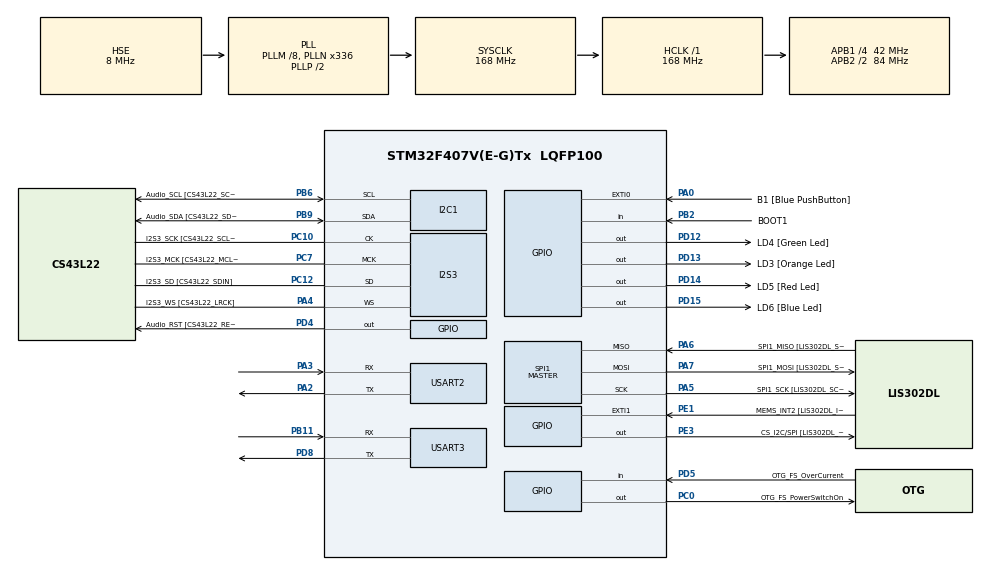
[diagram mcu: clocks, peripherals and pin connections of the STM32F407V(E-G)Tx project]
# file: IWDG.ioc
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FREERTOS.Tasks01=idleTask,8,128,StartIdleTask,Default,NULL,Dynamic,NULL,NULL;myTask02,16,128,StartTask02,Default,NULL,Dynamic,NULL,NULL;myTask03,24,128,StartTask03,Default,NULL,Dynamic,NULL,NULL;myIWDG04,48,128,StartIWDGTask04,Default,NULL,Dynamic,NULL,NULL
I2S3.AudioFreq-Half_Duplex_Master=I2S_AUDIOFREQ_96K
I2S3.ErrorAudioFreq=-2.34 %
I2S3.ErrorAudioFreq-Half_Duplex_Master=0.8 %
I2S3.FullDuplexMode=I2S_FULLDUPLEXMODE_DISABLE
I2S3.Instance=SPI$Index
I2S3.RealAudioFreq=93.75 KHz
I2S3.RealAudioFreq-Half_Duplex_Master=96.774 KHz
I2S3.VirtualMode=I2S_MODE_MASTER
IWDG.Prescaler=IWDG_PRESCALER_32
Mcu.Family=STM32F4
Mcu.Name=STM32F407V(E-G)Tx
Mcu.Package=LQFP100
NVIC.PriorityGroup=NVIC_PRIORITYGROUP_4
PA0-WKUP.GPIO_Label=B1 [Blue PushButton]
PA0-WKUP.GPIO_ModeDefaultEXTI=GPIO_MODE_EVT_RISING
PA0-WKUP.GPIO_PuPd=GPIO_NOPULL
PA0-WKUP.Signal=GPXTI0
PA10.GPIO_Label=OTG_FS_ID
PA10.GPIO_Mode=GPIO_MODE_AF_PP
PA10.GPIO_PuPd=GPIO_NOPULL
PA10.GPIO_Speed=GPIO_SPEED_FREQ_LOW
PA10.Signal=USB_OTG_FS_ID
PA11.GPIO_Label=OTG_FS_DM
PA11.GPIO_Mode=GPIO_MODE_AF_PP
PA11.GPIO_PuPd=GPIO_NOPULL
PA11.GPIO_Speed=GPIO_SPEED_FREQ_LOW
PA11.Signal=USB_OTG_FS_DM
PA12.GPIO_Label=OTG_FS_DP
PA12.GPIO_Mode=GPIO_MODE_AF_PP
PA12.GPIO_PuPd=GPIO_NOPULL
PA12.GPIO_Speed=GPIO_SPEED_FREQ_LOW
PA12.Signal=USB_OTG_FS_DP
PA13.GPIO_Label=SWDIO
PA13.Mode=Serial_Wire
PA13.Signal=SYS_JTMS-SWDIO
PA14.GPIO_Label=SWCLK
PA14.Mode=Serial_Wire
PA14.Signal=SYS_JTCK-SWCLK
PA2.Mode=Asynchronous
PA2.Signal=USART2_TX
PA3.Mode=Asynchronous
PA3.Signal=USART2_RX
PA4.GPIO_Label=I2S3_WS [CS43L22_LRCK]
PA4.GPIO_Mode=GPIO_MODE_AF_PP
PA4.GPIO_PuPd=GPIO_NOPULL
PA4.GPIO_Speed=GPIO_SPEED_FREQ_LOW
PA4.Mode=Half_Duplex_Master
PA4.Signal=I2S3_WS
PA5.GPIO_Label=SPI1_SCK [LIS302DL_SCL/SPC]
PA5.GPIO_Mode=GPIO_MODE_AF_PP
PA5.GPIO_PuPd=GPIO_NOPULL
PA5.GPIO_Speed=GPIO_SPEED_FREQ_LOW
PA5.Mode=Full_Duplex_Master
PA5.Signal=SPI1_SCK
PA6.GPIO_Label=SPI1_MISO [LIS302DL_SDO]
PA6.GPIO_Mode=GPIO_MODE_AF_PP
PA6.GPIO_PuPd=GPIO_NOPULL
PA6.GPIO_Speed=GPIO_SPEED_FREQ_LOW
PA6.Mode=Full_Duplex_Master
PA6.Signal=SPI1_MISO
PA7.GPIO_Label=SPI1_MOSI [LIS302DL_SDA/SDI/SDO]
PA7.GPIO_Mode=GPIO_MODE_AF_PP
PA7.GPIO_PuPd=GPIO_NOPULL
PA7.GPIO_Speed=GPIO_SPEED_FREQ_LOW
PA7.Mode=Full_Duplex_Master
PA7.Signal=SPI1_MOSI
PA9.GPIO_Label=VBUS_FS
PA9.GPIO_Mode=GPIO_MODE_INPUT
PA9.GPIO_PuPd=GPIO_NOPULL
PA9.Signal=USB_OTG_FS_VBUS
PB10.GPIO_Label=CLK_IN [MP45DT02_CLK]
PB10.GPIO_Mode=GPIO_MODE_AF_PP
PB10.GPIO_PuPd=GPIO_NOPULL
PB10.GPIO_Speed=GPIO_SPEED_FREQ_LOW
PB10.Signal=I2S2_CK
PB11.Mode=Asynchronous
PB11.Signal=USART3_RX
PB2.GPIO_Label=BOOT1
PB2.GPIO_Mode=GPIO_MODE_INPUT
PB2.GPIO_PuPd=GPIO_NOPULL
PB2.Signal=GPIO_Input
PB3.GPIO_Label=SWO
PB3.Signal=SYS_JTDO-SWO
PB6.GPIO_Label=Audio_SCL [CS43L22_SCL]
PB6.GPIO_Mode=GPIO_MODE_AF_OD
PB6.GPIO_PuPd=GPIO_NOPULL
PB6.GPIO_Speed=GPIO_SPEED_FREQ_LOW
PB6.Mode=I2C
PB6.Signal=I2C1_SCL
PB9.GPIO_Label=Audio_SDA [CS43L22_SDA]
PB9.GPIO_Mode=GPIO_MODE_AF_OD
PB9.GPIO_PuPd=GPIO_NOPULL
PB9.GPIO_Speed=GPIO_SPEED_FREQ_LOW
PB9.Mode=I2C
PB9.Signal=I2C1_SDA
PC0.GPIO_Label=OTG_FS_PowerSwitchOn
PC0.GPIO_PuPd=GPIO_NOPULL
PC0.GPIO_Speed=GPIO_SPEED_FREQ_LOW
PC0.PinState=GPIO_PIN_SET
PC0.Signal=GPIO_Output
PC10.GPIO_Label=I2S3_SCK [CS43L22_SCLK]
PC10.GPIO_Mode=GPIO_MODE_AF_PP
PC10.GPIO_PuPd=GPIO_NOPULL
PC10.GPIO_Speed=GPIO_SPEED_FREQ_LOW
PC10.Mode=Half_Duplex_Master
PC10.Signal=I2S3_CK
PC12.GPIO_Label=I2S3_SD [CS43L22_SDIN]
PC12.GPIO_Mode=GPIO_MODE_AF_PP
PC12.GPIO_PuPd=GPIO_NOPULL
PC12.GPIO_Speed=GPIO_SPEED_FREQ_LOW
PC12.Mode=Half_Duplex_Master
PC12.Signal=I2S3_SD
PC14-OSC32_IN.GPIO_Label=PC14-OSC32_IN
PC14-OSC32_IN.Mode=LSE-External-Oscillator
PC14-OSC32_IN.Signal=RCC_OSC32_IN
PC15-OSC32_OUT.GPIO_Label=PC15-OSC32_OUT
PC15-OSC32_OUT.Mode=LSE-External-Oscillator
PC15-OSC32_OUT.Signal=RCC_OSC32_OUT
PC3.GPIO_Label=PDM_OUT [MP45DT02_DOUT]
PC3.GPIO_Mode=GPIO_MODE_AF_PP
PC3.GPIO_PuPd=GPIO_NOPULL
PC3.GPIO_Speed=GPIO_SPEED_FREQ_LOW
PC3.Signal=I2S2_SD
PC7.GPIO_Label=I2S3_MCK [CS43L22_MCLK]
PC7.GPIO_Mode=GPIO_MODE_AF_PP
PC7.GPIO_PuPd=GPIO_NOPULL
PC7.GPIO_Speed=GPIO_SPEED_FREQ_LOW
PC7.Mode=Master_Clock_Activated
PC7.Signal=I2S3_MCK
PD12.GPIO_Label=LD4 [Green Led]
PD12.GPIO_PuPd=GPIO_NOPULL
PD12.GPIO_Speed=GPIO_SPEED_FREQ_LOW
PD12.Signal=GPIO_Output
PD13.GPIO_Label=LD3 [Orange Led]
PD13.GPIO_PuPd=GPIO_NOPULL
PD13.GPIO_Speed=GPIO_SPEED_FREQ_LOW
PD13.Signal=GPIO_Output
PD14.GPIO_Label=LD5 [Red Led]
PD14.GPIO_PuPd=GPIO_NOPULL
PD14.GPIO_Speed=GPIO_SPEED_FREQ_LOW
PD14.Signal=GPIO_Output
PD15.GPIO_Label=LD6 [Blue Led]
PD15.GPIO_PuPd=GPIO_NOPULL
PD15.GPIO_Speed=GPIO_SPEED_FREQ_LOW
PD15.Signal=GPIO_Output
PD4.GPIO_Label=Audio_RST [CS43L22_RESET]
PD4.GPIO_PuPd=GPIO_NOPULL
PD4.GPIO_Speed=GPIO_SPEED_FREQ_LOW
PD4.Signal=GPIO_Output
PD5.GPIO_Label=OTG_FS_OverCurrent
PD5.GPIO_Mode=GPIO_MODE_INPUT
PD5.GPIO_PuPd=GPIO_NOPULL
PD5.Signal=GPIO_Input
PD8.Mode=Asynchronous
PD8.Signal=USART3_TX
PE1.GPIO_Label=MEMS_INT2 [LIS302DL_INT2]
PE1.GPIO_ModeDefaultEXTI=GPIO_MODE_EVT_RISING
PE1.GPIO_PuPd=GPIO_NOPULL
PE1.Signal=GPXTI1
PE3.GPIO_Label=CS_I2C/SPI [LIS302DL_CS_I2C/SPI]
PE3.GPIO_PuPd=GPIO_NOPULL
PE3.GPIO_Speed=GPIO_SPEED_FREQ_LOW
PE3.Signal=GPIO_Output
PH0-OSC_IN.GPIO_Label=PH0-OSC_IN
PH0-OSC_IN.Mode=HSE-External-Oscillator
PH0-OSC_IN.Signal=RCC_OSC_IN
PH1-OSC_OUT.GPIO_Label=PH1-OSC_OUT
PH1-OSC_OUT.Mode=HSE-External-Oscillator
PH1-OSC_OUT.Signal=RCC_OSC_OUT
ProjectManager.HeapSize=0x200
ProjectManager.StackSize=0x400
ProjectManager.TargetToolchain=STM32CubeIDE
RCC.48MHZClocksFreq_Value=48000000
RCC.AHBFreq_Value=168000000
RCC.APB1CLKDivider=RCC_HCLK_DIV4
RCC.APB1Freq_Value=42000000
RCC.APB1TimFreq_Value=84000000
RCC.APB2CLKDivider=RCC_HCLK_DIV2
RCC.APB2Freq_Value=84000000
RCC.APB2TimFreq_Value=168000000
RCC.CortexFreq_Value=168000000
RCC.HCLKFreq_Value=168000000
RCC.HSE_VALUE=8000000
RCC.HSI_VALUE=16000000
RCC.PLLM=8
RCC.PLLN=336
RCC.PLLQ=7
RCC.PLLSourceVirtual=RCC_PLLSOURCE_HSE
RCC.SYSCLKFreq_VALUE=168000000
RCC.SYSCLKSource=RCC_SYSCLKSOURCE_PLLCLK
RCC.VCOOutputFreq_Value=336000000
SPI1.BaudRatePrescaler-Full_Duplex_Master=SPI_BAUDRATEPRESCALER_2
SPI1.CalculateBaudRate-Full_Duplex_Master=42.0 MBits/s
SPI1.Direction=SPI_DIRECTION_2LINES
SPI1.Mode=SPI_MODE_MASTER
SPI1.Mode-Full_Duplex_Master=SPI_MODE_MASTER
SPI1.VirtualType=VM_MASTER
USART2.VirtualMode=VM_ASYNC
USART3.VirtualMode=VM_ASYNC
VP_FREERTOS_VS_CMSIS_V2.Mode=CMSIS_V2
VP_IWDG_VS_IWDG.Mode=IWDG_Activate
VP_RTC_VS_RTC_Activate.Mode=RTC_Enabled
VP_RTC_VS_RTC_Calendar.Mode=RTC_Calendar
VP_TIM1_VS_ClockSourceINT.Mode=Internal
board=STM32F407G-DISC1

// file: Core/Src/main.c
/* USER CODE BEGIN Header */
/**
  ******************************************************************************
  * @file           : main.c
  * @brief          : Main program body
  ******************************************************************************
  * @attention
  *
  * <h2><center>&copy; Copyright (c) 2021 STMicroelectronics.
  * All rights reserved.</center></h2>
  *
  * This software component is licensed by ST under Ultimate Liberty license
  * SLA0044, the "License"; You may not use this file except in compliance with
  * the License. You may obtain a copy of the License at:
  *                             www.st.com/SLA0044
  *
  ******************************************************************************
  */
/* USER CODE END Header */

#include "main.h"
#include "cmsis_os.h"

/* USER CODE BEGIN Includes */
#include "FreeRTOSConfig.h"
#include "event_groups.h"
/* USER CODE END Includes */

/* USER CODE BEGIN PD */
#define IWDG_BIT_myTask02   (1 << 0)  //task02 flag
#define IWDG_BIT_myTask03   (1 << 1)  //task03 flag
#define IWDG_BIT_ALL (IWDG_BIT_myTask02 | IWDG_BIT_myTask03) //feed dog

/* USER CODE END PD */

I2C_HandleTypeDef hi2c1;

I2S_HandleTypeDef hi2s3;

IWDG_HandleTypeDef hiwdg;

RTC_HandleTypeDef hrtc;

SPI_HandleTypeDef hspi1;

TIM_HandleTypeDef htim1;

UART_HandleTypeDef huart2;
UART_HandleTypeDef huart3;

/* Definitions for idleTask */
osThreadId_t idleTaskHandle;
const osThreadAttr_t idleTask_attributes = {
  .name = "idleTask",
  .priority = (osPriority_t) osPriorityLow,
  .stack_size = 128 * 4
};
/* Definitions for myTask02 */
osThreadId_t myTask02Handle;
const osThreadAttr_t myTask02_attributes = {
  .name = "myTask02",
  .priority = (osPriority_t) osPriorityBelowNormal,
  .stack_size = 128 * 4
};
/* Definitions for myTask03 */
osThreadId_t myTask03Handle;
const osThreadAttr_t myTask03_attributes = {
  .name = "myTask03",
  .priority = (osPriority_t) osPriorityNormal,
  .stack_size = 128 * 4
};
/* Definitions for myIWDG04 */
osThreadId_t myIWDG04Handle;
const osThreadAttr_t myIWDG04_attributes = {
  .name = "myIWDG04",
  .priority = (osPriority_t) osPriorityRealtime,
  .stack_size = 128 * 4
};
/* USER CODE BEGIN PV */

EventGroupHandle_t iwdgEventGroup;
EventBits_t uxBits;

uint8_t Init[]= "Initialize all configured peripherals OK \r\n";

/* USER CODE END PV */

void SystemClock_Config(void);
static void MX_GPIO_Init(void);
static void MX_I2C1_Init(void);
static void MX_I2S3_Init(void);
static void MX_SPI1_Init(void);
static void MX_IWDG_Init(void);
static void MX_RTC_Init(void);
static void MX_TIM1_Init(void);
static void MX_USART2_UART_Init(void);
static void MX_USART3_UART_Init(void);
void StartIdleTask(void *argument);
void StartTask02(void *argument);
void StartTask03(void *argument);
void StartIWDGTask04(void *argument);

int main(void)
{
  /* USER CODE BEGIN 1 */

  iwdgEventGroup = xEventGroupCreate();

  /* USER CODE END 1 */

  /* MCU Configuration--------------------------------------------------------*/

  /* Reset of all peripherals, Initializes the Flash interface and the Systick. */
  HAL_Init();

  /* Configure the system clock */
  SystemClock_Config();

  /* Initialize all configured peripherals */
  MX_GPIO_Init();
  MX_I2C1_Init();
  MX_I2S3_Init();
  MX_SPI1_Init();
  MX_IWDG_Init();
  MX_RTC_Init();
  MX_TIM1_Init();
  MX_USART2_UART_Init();
  MX_USART3_UART_Init();
  /* USER CODE BEGIN 2 */

  HAL_UART_Transmit( &huart2, Init, sizeof(Init)-1, 10000);

  /* USER CODE END 2 */

  /* Init scheduler */
  osKernelInitialize();

  /* Create the thread(s) */
  /* creation of idleTask */
  idleTaskHandle = osThreadNew(StartIdleTask, NULL, &idleTask_attributes);

  /* creation of myTask02 */
  myTask02Handle = osThreadNew(StartTask02, NULL, &myTask02_attributes);

  /* creation of myTask03 */
  myTask03Handle = osThreadNew(StartTask03, NULL, &myTask03_attributes);

  /* creation of myIWDG04 */
  myIWDG04Handle = osThreadNew(StartIWDGTask04, NULL, &myIWDG04_attributes);

  /* Start scheduler */
  osKernelStart();

  /* We should never get here as control is now taken by the scheduler */
  /* Infinite loop */
  while (1)
  {

  }
}

void SystemClock_Config(void)
{
  RCC_OscInitTypeDef RCC_OscInitStruct = {0};
  RCC_ClkInitTypeDef RCC_ClkInitStruct = {0};
  RCC_PeriphCLKInitTypeDef PeriphClkInitStruct = {0};

  /** Configure the main internal regulator output voltage
  */
  __HAL_RCC_PWR_CLK_ENABLE();
  __HAL_PWR_VOLTAGESCALING_CONFIG(PWR_REGULATOR_VOLTAGE_SCALE1);
  /** Initializes the CPU, AHB and APB busses clocks
  */
  RCC_OscInitStruct.OscillatorType = RCC_OSCILLATORTYPE_LSI|RCC_OSCILLATORTYPE_HSE;
  RCC_OscInitStruct.HSEState = RCC_HSE_ON;
  RCC_OscInitStruct.LSIState = RCC_LSI_ON;
  RCC_OscInitStruct.PLL.PLLState = RCC_PLL_ON;
  RCC_OscInitStruct.PLL.PLLSource = RCC_PLLSOURCE_HSE;
  RCC_OscInitStruct.PLL.PLLM = 8;
  RCC_OscInitStruct.PLL.PLLN = 336;
  RCC_OscInitStruct.PLL.PLLP = RCC_PLLP_DIV2;
  RCC_OscInitStruct.PLL.PLLQ = 7;
  if (HAL_RCC_OscConfig(&RCC_OscInitStruct) != HAL_OK)
  {
    Error_Handler();
  }
  /** Initializes the CPU, AHB and APB busses clocks
  */
  RCC_ClkInitStruct.ClockType = RCC_CLOCKTYPE_HCLK|RCC_CLOCKTYPE_SYSCLK
                              |RCC_CLOCKTYPE_PCLK1|RCC_CLOCKTYPE_PCLK2;
  RCC_ClkInitStruct.SYSCLKSource = RCC_SYSCLKSOURCE_PLLCLK;
  RCC_ClkInitStruct.AHBCLKDivider = RCC_SYSCLK_DIV1;
  RCC_ClkInitStruct.APB1CLKDivider = RCC_HCLK_DIV4;
  RCC_ClkInitStruct.APB2CLKDivider = RCC_HCLK_DIV2;

  if (HAL_RCC_ClockConfig(&RCC_ClkInitStruct, FLASH_LATENCY_5) != HAL_OK)
  {
    Error_Handler();
  }
  PeriphClkInitStruct.PeriphClockSelection = RCC_PERIPHCLK_I2S|RCC_PERIPHCLK_RTC;
  PeriphClkInitStruct.PLLI2S.PLLI2SN = 192;
  PeriphClkInitStruct.PLLI2S.PLLI2SR = 2;
  PeriphClkInitStruct.RTCClockSelection = RCC_RTCCLKSOURCE_LSI;
  if (HAL_RCCEx_PeriphCLKConfig(&PeriphClkInitStruct) != HAL_OK)
  {
    Error_Handler();
  }
}

static void MX_I2C1_Init(void)
{

  hi2c1.Instance = I2C1;
  hi2c1.Init.ClockSpeed = 100000;
  hi2c1.Init.DutyCycle = I2C_DUTYCYCLE_2;
  hi2c1.Init.OwnAddress1 = 0;
  hi2c1.Init.AddressingMode = I2C_ADDRESSINGMODE_7BIT;
  hi2c1.Init.DualAddressMode = I2C_DUALADDRESS_DISABLE;
  hi2c1.Init.OwnAddress2 = 0;
  hi2c1.Init.GeneralCallMode = I2C_GENERALCALL_DISABLE;
  hi2c1.Init.NoStretchMode = I2C_NOSTRETCH_DISABLE;
  if (HAL_I2C_Init(&hi2c1) != HAL_OK)
  {
    Error_Handler();
  }

}

static void MX_I2S3_Init(void)
{

  hi2s3.Instance = SPI3;
  hi2s3.Init.Mode = I2S_MODE_MASTER_TX;
  hi2s3.Init.Standard = I2S_STANDARD_PHILIPS;
  hi2s3.Init.DataFormat = I2S_DATAFORMAT_16B;
  hi2s3.Init.MCLKOutput = I2S_MCLKOUTPUT_ENABLE;
  hi2s3.Init.AudioFreq = I2S_AUDIOFREQ_96K;
  hi2s3.Init.CPOL = I2S_CPOL_LOW;
  hi2s3.Init.ClockSource = I2S_CLOCK_PLL;
  hi2s3.Init.FullDuplexMode = I2S_FULLDUPLEXMODE_DISABLE;
  if (HAL_I2S_Init(&hi2s3) != HAL_OK)
  {
    Error_Handler();
  }

}

static void MX_IWDG_Init(void)
{

  hiwdg.Instance = IWDG;
  hiwdg.Init.Prescaler = IWDG_PRESCALER_32;
  hiwdg.Init.Reload = 4095;
  if (HAL_IWDG_Init(&hiwdg) != HAL_OK)
  {
    Error_Handler();
  }

}

static void MX_RTC_Init(void)
{

  RTC_TimeTypeDef sTime = {0};
  RTC_DateTypeDef sDate = {0};

  /** Initialize RTC Only
  */
  hrtc.Instance = RTC;
  hrtc.Init.HourFormat = RTC_HOURFORMAT_24;
  hrtc.Init.AsynchPrediv = 127;
  hrtc.Init.SynchPrediv = 255;
  hrtc.Init.OutPut = RTC_OUTPUT_DISABLE;
  hrtc.Init.OutPutPolarity = RTC_OUTPUT_POLARITY_HIGH;
  hrtc.Init.OutPutType = RTC_OUTPUT_TYPE_OPENDRAIN;
  if (HAL_RTC_Init(&hrtc) != HAL_OK)
  {
    Error_Handler();
  }

  /** Initialize RTC and set the Time and Date
  */
  sTime.Hours = 0x0;
  sTime.Minutes = 0x0;
  sTime.Seconds = 0x0;
  sTime.DayLightSaving = RTC_DAYLIGHTSAVING_NONE;
  sTime.StoreOperation = RTC_STOREOPERATION_RESET;
  if (HAL_RTC_SetTime(&hrtc, &sTime, RTC_FORMAT_BCD) != HAL_OK)
  {
    Error_Handler();
  }
  sDate.WeekDay = RTC_WEEKDAY_MONDAY;
  sDate.Month = RTC_MONTH_JANUARY;
  sDate.Date = 0x1;
  sDate.Year = 0x0;

  if (HAL_RTC_SetDate(&hrtc, &sDate, RTC_FORMAT_BCD) != HAL_OK)
  {
    Error_Handler();
  }

}

static void MX_SPI1_Init(void)
{

  /* SPI1 parameter configuration*/
  hspi1.Instance = SPI1;
  hspi1.Init.Mode = SPI_MODE_MASTER;
  hspi1.Init.Direction = SPI_DIRECTION_2LINES;
  hspi1.Init.DataSize = SPI_DATASIZE_8BIT;
  hspi1.Init.CLKPolarity = SPI_POLARITY_LOW;
  hspi1.Init.CLKPhase = SPI_PHASE_1EDGE;
  hspi1.Init.NSS = SPI_NSS_SOFT;
  hspi1.Init.BaudRatePrescaler = SPI_BAUDRATEPRESCALER_2;
  hspi1.Init.FirstBit = SPI_FIRSTBIT_MSB;
  hspi1.Init.TIMode = SPI_TIMODE_DISABLE;
  hspi1.Init.CRCCalculation = SPI_CRCCALCULATION_DISABLE;
  hspi1.Init.CRCPolynomial = 10;
  if (HAL_SPI_Init(&hspi1) != HAL_OK)
  {
    Error_Handler();
  }

}

static void MX_TIM1_Init(void)
{

  TIM_ClockConfigTypeDef sClockSourceConfig = {0};
  TIM_MasterConfigTypeDef sMasterConfig = {0};

  htim1.Instance = TIM1;
  htim1.Init.Prescaler = 0;
  htim1.Init.CounterMode = TIM_COUNTERMODE_UP;
  htim1.Init.Period = 0;
  htim1.Init.ClockDivision = TIM_CLOCKDIVISION_DIV1;
  htim1.Init.RepetitionCounter = 0;
  htim1.Init.AutoReloadPreload = TIM_AUTORELOAD_PRELOAD_DISABLE;
  if (HAL_TIM_Base_Init(&htim1) != HAL_OK)
  {
    Error_Handler();
  }
  sClockSourceConfig.ClockSource = TIM_CLOCKSOURCE_INTERNAL;
  if (HAL_TIM_ConfigClockSource(&htim1, &sClockSourceConfig) != HAL_OK)
  {
    Error_Handler();
  }
  sMasterConfig.MasterOutputTrigger = TIM_TRGO_RESET;
  sMasterConfig.MasterSlaveMode = TIM_MASTERSLAVEMODE_DISABLE;
  if (HAL_TIMEx_MasterConfigSynchronization(&htim1, &sMasterConfig) != HAL_OK)
  {
    Error_Handler();
  }

}

static void MX_USART2_UART_Init(void)
{

  huart2.Instance = USART2;
  huart2.Init.BaudRate = 115200;
  huart2.Init.WordLength = UART_WORDLENGTH_8B;
  huart2.Init.StopBits = UART_STOPBITS_1;
  huart2.Init.Parity = UART_PARITY_NONE;
  huart2.Init.Mode = UART_MODE_TX_RX;
  huart2.Init.HwFlowCtl = UART_HWCONTROL_NONE;
  huart2.Init.OverSampling = UART_OVERSAMPLING_16;
  if (HAL_UART_Init(&huart2) != HAL_OK)
  {
    Error_Handler();
  }

}

static void MX_USART3_UART_Init(void)
{

  huart3.Instance = USART3;
  huart3.Init.BaudRate = 115200;
  huart3.Init.WordLength = UART_WORDLENGTH_8B;
  huart3.Init.StopBits = UART_STOPBITS_1;
  huart3.Init.Parity = UART_PARITY_NONE;
  huart3.Init.Mode = UART_MODE_TX_RX;
  huart3.Init.HwFlowCtl = UART_HWCONTROL_NONE;
  huart3.Init.OverSampling = UART_OVERSAMPLING_16;
  if (HAL_UART_Init(&huart3) != HAL_OK)
  {
    Error_Handler();
  }

}

static void MX_GPIO_Init(void)
{
  GPIO_InitTypeDef GPIO_InitStruct = {0};

  /* GPIO Ports Clock Enable */
  __HAL_RCC_GPIOE_CLK_ENABLE();
  __HAL_RCC_GPIOC_CLK_ENABLE();
  __HAL_RCC_GPIOH_CLK_ENABLE();
  __HAL_RCC_GPIOA_CLK_ENABLE();
  __HAL_RCC_GPIOB_CLK_ENABLE();
  __HAL_RCC_GPIOD_CLK_ENABLE();

  /*Configure GPIO pin Output Level */
  HAL_GPIO_WritePin(CS_I2C_SPI_GPIO_Port, CS_I2C_SPI_Pin, GPIO_PIN_RESET);

  /*Configure GPIO pin Output Level */
  HAL_GPIO_WritePin(OTG_FS_PowerSwitchOn_GPIO_Port, OTG_FS_PowerSwitchOn_Pin, GPIO_PIN_SET);

  /*Configure GPIO pin Output Level */
  HAL_GPIO_WritePin(GPIOD, LD4_Pin|LD3_Pin|LD5_Pin|LD6_Pin
                          |Audio_RST_Pin, GPIO_PIN_RESET);

  /*Configure GPIO pin : CS_I2C_SPI_Pin */
  GPIO_InitStruct.Pin = CS_I2C_SPI_Pin;
  GPIO_InitStruct.Mode = GPIO_MODE_OUTPUT_PP;
  GPIO_InitStruct.Pull = GPIO_NOPULL;
  GPIO_InitStruct.Speed = GPIO_SPEED_FREQ_LOW;
  HAL_GPIO_Init(CS_I2C_SPI_GPIO_Port, &GPIO_InitStruct);

  /*Configure GPIO pin : OTG_FS_PowerSwitchOn_Pin */
  GPIO_InitStruct.Pin = OTG_FS_PowerSwitchOn_Pin;
  GPIO_InitStruct.Mode = GPIO_MODE_OUTPUT_PP;
  GPIO_InitStruct.Pull = GPIO_NOPULL;
  GPIO_InitStruct.Speed = GPIO_SPEED_FREQ_LOW;
  HAL_GPIO_Init(OTG_FS_PowerSwitchOn_GPIO_Port, &GPIO_InitStruct);

  /*Configure GPIO pin : PDM_OUT_Pin */
  GPIO_InitStruct.Pin = PDM_OUT_Pin;
  GPIO_InitStruct.Mode = GPIO_MODE_AF_PP;
  GPIO_InitStruct.Pull = GPIO_NOPULL;
  GPIO_InitStruct.Speed = GPIO_SPEED_FREQ_LOW;
  GPIO_InitStruct.Alternate = GPIO_AF5_SPI2;
  HAL_GPIO_Init(PDM_OUT_GPIO_Port, &GPIO_InitStruct);

  /*Configure GPIO pin : B1_Pin */
  GPIO_InitStruct.Pin = B1_Pin;
  GPIO_InitStruct.Mode = GPIO_MODE_EVT_RISING;
  GPIO_InitStruct.Pull = GPIO_NOPULL;
  HAL_GPIO_Init(B1_GPIO_Port, &GPIO_InitStruct);

  /*Configure GPIO pin : BOOT1_Pin */
  GPIO_InitStruct.Pin = BOOT1_Pin;
  GPIO_InitStruct.Mode = GPIO_MODE_INPUT;
  GPIO_InitStruct.Pull = GPIO_NOPULL;
  HAL_GPIO_Init(BOOT1_GPIO_Port, &GPIO_InitStruct);

  /*Configure GPIO pin : CLK_IN_Pin */
  GPIO_InitStruct.Pin = CLK_IN_Pin;
  GPIO_InitStruct.Mode = GPIO_MODE_AF_PP;
  GPIO_InitStruct.Pull = GPIO_NOPULL;
  GPIO_InitStruct.Speed = GPIO_SPEED_FREQ_LOW;
  GPIO_InitStruct.Alternate = GPIO_AF5_SPI2;
  HAL_GPIO_Init(CLK_IN_GPIO_Port, &GPIO_InitStruct);

  /*Configure GPIO pins : LD4_Pin LD3_Pin LD5_Pin LD6_Pin
                           Audio_RST_Pin */
  GPIO_InitStruct.Pin = LD4_Pin|LD3_Pin|LD5_Pin|LD6_Pin
                          |Audio_RST_Pin;
  GPIO_InitStruct.Mode = GPIO_MODE_OUTPUT_PP;
  GPIO_InitStruct.Pull = GPIO_NOPULL;
  GPIO_InitStruct.Speed = GPIO_SPEED_FREQ_LOW;
  HAL_GPIO_Init(GPIOD, &GPIO_InitStruct);

  /*Configure GPIO pin : VBUS_FS_Pin */
  GPIO_InitStruct.Pin = VBUS_FS_Pin;
  GPIO_InitStruct.Mode = GPIO_MODE_INPUT;
  GPIO_InitStruct.Pull = GPIO_NOPULL;
  HAL_GPIO_Init(VBUS_FS_GPIO_Port, &GPIO_InitStruct);

  /*Configure GPIO pins : OTG_FS_ID_Pin OTG_FS_DM_Pin OTG_FS_DP_Pin */
  GPIO_InitStruct.Pin = OTG_FS_ID_Pin|OTG_FS_DM_Pin|OTG_FS_DP_Pin;
  GPIO_InitStruct.Mode = GPIO_MODE_AF_PP;
  GPIO_InitStruct.Pull = GPIO_NOPULL;
  GPIO_InitStruct.Speed = GPIO_SPEED_FREQ_LOW;
  GPIO_InitStruct.Alternate = GPIO_AF10_OTG_FS;
  HAL_GPIO_Init(GPIOA, &GPIO_InitStruct);

  /*Configure GPIO pin : OTG_FS_OverCurrent_Pin */
  GPIO_InitStruct.Pin = OTG_FS_OverCurrent_Pin;
  GPIO_InitStruct.Mode = GPIO_MODE_INPUT;
  GPIO_InitStruct.Pull = GPIO_NOPULL;
  HAL_GPIO_Init(OTG_FS_OverCurrent_GPIO_Port, &GPIO_InitStruct);

  /*Configure GPIO pin : MEMS_INT2_Pin */
  GPIO_InitStruct.Pin = MEMS_INT2_Pin;
  GPIO_InitStruct.Mode = GPIO_MODE_EVT_RISING;
  GPIO_InitStruct.Pull = GPIO_NOPULL;
  HAL_GPIO_Init(MEMS_INT2_GPIO_Port, &GPIO_InitStruct);

}

void StartIdleTask(void *argument)
{
  for(;;)
  {
    osDelay(1);
  }
}

void StartTask02(void *argument)
{
  /* USER CODE BEGIN StartTask02 */
  uint8_t data01[]= "Running task 2\r\n";
  /* Infinite loop */
  for(;;)
  {
	  HAL_UART_Transmit( &huart2, data01, sizeof(data01)-1, 10000);
	  HAL_Delay(1000);
	  uxBits = xEventGroupSetBits(iwdgEventGroup , IWDG_BIT_myTask02);
	  vTaskResume(myTask03Handle);
  }
  /* USER CODE END StartTask02 */
}

void StartTask03(void *argument)
{
  /* USER CODE BEGIN StartTask03 */
  uint8_t data00[]= "Running task 1\r\n";
  /* Infinite loop */
  for(;;)
  {
	  HAL_UART_Transmit( &huart2, data00, sizeof(data00)-1, 10000);
	  HAL_Delay(1000);
	  uxBits = xEventGroupSetBits(iwdgEventGroup , IWDG_BIT_myTask03);
	  vTaskSuspend(myTask03Handle);
  }
  /* USER CODE END StartTask03 */
}

void StartIWDGTask04(void *argument)
{
  /* USER CODE BEGIN StartIWDGTask04 */
  const TickType_t	xTicksToWait = 100 / portTICK_PERIOD_MS*10; /* MAX Delay 1s */
  uint8_t data2[]= "NULL xEventGroupCreate  \r\n";
  if(iwdgEventGroup == NULL)
    {
  	   HAL_UART_Transmit( &huart2, data2, sizeof(data2)-1, 10000);
    }
  /* Infinite loop */
  for(;;)
  {
	  uxBits = xEventGroupWaitBits(iwdgEventGroup,IWDG_BIT_ALL,pdTRUE,pdTRUE,xTicksToWait);
	  if((uxBits & IWDG_BIT_ALL) == IWDG_BIT_ALL)
	  	  {
	  		HAL_IWDG_Refresh(&hiwdg); // 4 sec if no set up will reset int main()
	  	  }
  }
  /* USER CODE END StartIWDGTask04 */
}

void Error_Handler(void)
{
}

/************************ (C) COPYRIGHT STMicroelectronics *****END OF FILE****/
